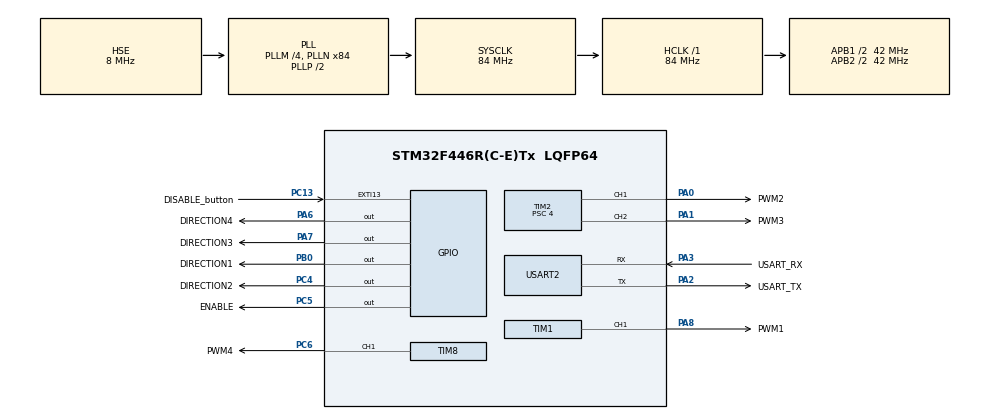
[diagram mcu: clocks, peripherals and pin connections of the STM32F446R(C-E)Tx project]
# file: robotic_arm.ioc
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Mcu.Family=STM32F4
Mcu.Name=STM32F446R(C-E)Tx
Mcu.Package=LQFP64
NVIC.EXTI15_10_IRQn=true\:0\:0\:false\:false\:true\:true\:true\:true
NVIC.PriorityGroup=NVIC_PRIORITYGROUP_1
NVIC.TIM1_BRK_TIM9_IRQn=true\:1\:0\:true\:false\:true\:true\:true\:true
NVIC.TIM1_CC_IRQn=true\:1\:0\:true\:false\:true\:true\:true\:true
NVIC.TIM1_TRG_COM_TIM11_IRQn=true\:1\:0\:true\:false\:true\:true\:true\:true
NVIC.TIM1_UP_TIM10_IRQn=true\:1\:0\:true\:false\:true\:true\:true\:true
NVIC.TIM2_IRQn=true\:1\:0\:true\:false\:true\:true\:true\:true
NVIC.TIM3_IRQn=true\:1\:0\:true\:false\:true\:true\:true\:true
NVIC.TIM4_IRQn=true\:1\:0\:true\:false\:true\:true\:true\:true
NVIC.TIM5_IRQn=true\:1\:0\:true\:false\:true\:true\:true\:true
NVIC.TIM8_BRK_TIM12_IRQn=true\:0\:0\:false\:false\:true\:true\:true\:true
NVIC.TIM8_CC_IRQn=true\:0\:0\:false\:false\:true\:true\:true\:true
NVIC.TIM8_TRG_COM_TIM14_IRQn=true\:0\:0\:false\:false\:true\:true\:true\:true
NVIC.TIM8_UP_TIM13_IRQn=true\:0\:0\:false\:false\:true\:true\:true\:true
PA0-WKUP.GPIO_Label=PWM2
PA0-WKUP.Signal=S_TIM2_CH1_ETR
PA1.GPIO_Label=PWM3
PA1.Signal=S_TIM2_CH2
PA13.GPIO_Label=TMS
PA13.Mode=Serial_Wire
PA13.Signal=SYS_JTMS-SWDIO
PA14.GPIO_Label=TCK
PA14.Mode=Serial_Wire
PA14.Signal=SYS_JTCK-SWCLK
PA2.GPIO_Label=USART_TX
PA2.Mode=Asynchronous
PA2.Signal=USART2_TX
PA3.GPIO_Label=USART_RX
PA3.Mode=Asynchronous
PA3.Signal=USART2_RX
PA6.GPIO_Label=DIRECTION4
PA6.GPIO_PuPd=GPIO_PULLDOWN
PA6.Signal=GPIO_Output
PA7.GPIO_Label=DIRECTION3
PA7.GPIO_PuPd=GPIO_PULLDOWN
PA7.Signal=GPIO_Output
PA8.GPIO_Label=PWM1
PA8.Signal=S_TIM1_CH1
PB0.GPIO_Label=DIRECTION1
PB0.GPIO_ModeDefaultOutputPP=GPIO_MODE_OUTPUT_PP
PB0.GPIO_PuPd=GPIO_PULLDOWN
PB0.Signal=GPIO_Output
PB3.GPIO_Label=SWO
PB3.Signal=SYS_JTDO-SWO
PC13.GPIO_Label=DISABLE_button
PC13.Signal=GPXTI13
PC14-OSC32_IN.Mode=LSE-External-Oscillator
PC14-OSC32_IN.Signal=RCC_OSC32_IN
PC15-OSC32_OUT.Mode=LSE-External-Oscillator
PC15-OSC32_OUT.Signal=RCC_OSC32_OUT
PC4.GPIO_Label=DIRECTION2
PC4.GPIO_PuPd=GPIO_PULLDOWN
PC4.Signal=GPIO_Output
PC5.GPIO_Label=ENABLE
PC5.GPIO_PuPd=GPIO_PULLUP
PC5.GPIO_Speed=GPIO_SPEED_FREQ_HIGH
PC5.PinState=GPIO_PIN_SET
PC5.Signal=GPIO_Output
PC6.GPIO_Label=PWM4
PC6.Signal=S_TIM8_CH1
PH0-OSC_IN.Mode=HSE-External-Oscillator
PH0-OSC_IN.Signal=RCC_OSC_IN
PH1-OSC_OUT.Mode=HSE-External-Oscillator
PH1-OSC_OUT.Signal=RCC_OSC_OUT
ProjectManager.HeapSize=0x200
ProjectManager.StackSize=0x400
ProjectManager.TargetToolchain=STM32CubeIDE
RCC.48MHZClocksFreq_Value=84000000
RCC.AHBFreq_Value=84000000
RCC.APB1CLKDivider=RCC_HCLK_DIV2
RCC.APB1Freq_Value=42000000
RCC.APB1TimFreq_Value=84000000
RCC.APB2CLKDivider=RCC_HCLK_DIV2
RCC.APB2Freq_Value=42000000
RCC.APB2TimFreq_Value=84000000
RCC.CortexFreq_Value=84000000
RCC.FLatency-AdvancedSettings=FLASH_LATENCY_2
RCC.HCLKFreq_Value=84000000
RCC.HSE_VALUE=8000000
RCC.HSI_VALUE=16000000
RCC.PLLM=4
RCC.PLLN=84
RCC.PLLSourceVirtual=RCC_PLLSOURCE_HSE
RCC.SYSCLKFreq_VALUE=84000000
RCC.SYSCLKSource=RCC_SYSCLKSOURCE_PLLCLK
RCC.USBFreq_Value=84000000
RCC.VCOOutputFreq_Value=168000000
SH.S_TIM1_CH1.0=TIM1_CH1,PWM Generation1 CH1
SH.S_TIM2_CH1_ETR.0=TIM2_CH1,PWM Generation1 CH1
SH.S_TIM2_CH2.0=TIM2_CH2,PWM Generation2 CH2
SH.S_TIM8_CH1.0=TIM8_CH1,PWM Generation1 CH1
TIM1.AutoReloadPreload=TIM_AUTORELOAD_PRELOAD_ENABLE
TIM1.Channel-PWM\ Generation1\ CH1=TIM_CHANNEL_1
TIM1.OCFastMode_PWM-PWM\ Generation1\ CH1=TIM_OCFAST_ENABLE
TIM1.Period=65535
TIM1.Prescaler=4
TIM1.Pulse-PWM\ Generation1\ CH1=32768
TIM1.TIM_MasterOutputTrigger=TIM_TRGO_UPDATE
TIM1.TIM_MasterSlaveMode=TIM_MASTERSLAVEMODE_ENABLE
TIM2.AutoReloadPreload=TIM_AUTORELOAD_PRELOAD_ENABLE
TIM2.Channel-PWM\ Generation1\ CH1=TIM_CHANNEL_1
TIM2.Channel-PWM\ Generation2\ CH2=TIM_CHANNEL_2
TIM2.OCFastMode_PWM-PWM\ Generation1\ CH1=TIM_OCFAST_ENABLE
TIM2.OCFastMode_PWM-PWM\ Generation2\ CH2=TIM_OCFAST_ENABLE
TIM2.Period=65535
TIM2.Prescaler=4
TIM2.Pulse-PWM\ Generation1\ CH1=32768
TIM2.Pulse-PWM\ Generation2\ CH2=32768
TIM2.TIM_MasterOutputTrigger=TIM_TRGO_UPDATE
TIM2.TIM_MasterSlaveMode=TIM_MASTERSLAVEMODE_ENABLE
TIM3.AutoReloadPreload=TIM_AUTORELOAD_PRELOAD_DISABLE
TIM3.CounterMode=TIM_COUNTERMODE_UP
TIM3.Period=199
TIM3.Prescaler=65535
TIM3.TIM_MasterOutputTrigger=TIM_TRGO_RESET
TIM3.TIM_MasterSlaveMode=TIM_MASTERSLAVEMODE_DISABLE
TIM4.Period=199
TIM4.Prescaler=65535
TIM5.AutoReloadPreload=TIM_AUTORELOAD_PRELOAD_DISABLE
TIM5.Period=199
TIM5.Prescaler=65535
TIM5.TIM_MasterOutputTrigger=TIM_TRGO_RESET
TIM5.TIM_MasterSlaveMode=TIM_MASTERSLAVEMODE_DISABLE
TIM8.AutoReloadPreload=TIM_AUTORELOAD_PRELOAD_ENABLE
TIM8.Channel-PWM\ Generation1\ CH1=TIM_CHANNEL_1
TIM8.OCFastMode_PWM-PWM\ Generation1\ CH1=TIM_OCFAST_ENABLE
TIM8.Prescaler=4
TIM8.Pulse-PWM\ Generation1\ CH1=32768
TIM8.TIM_MasterOutputTrigger=TIM_TRGO_UPDATE
TIM8.TIM_MasterSlaveMode=TIM_MASTERSLAVEMODE_ENABLE
USART2.VirtualMode=VM_ASYNC
VP_TIM10_VS_ClockSourceINT.Mode=Enable_Timer
VP_TIM11_VS_ClockSourceINT.Mode=Enable_Timer
VP_TIM1_VS_ClockSourceINT.Mode=Internal
VP_TIM2_VS_ClockSourceINT.Mode=Internal
VP_TIM3_VS_ClockSourceINT.Mode=Internal
VP_TIM3_VS_ClockSourceITR.Mode=TriggerSource_ITR1
VP_TIM3_VS_ControllerModeTrigger.Mode=Trigger Mode
VP_TIM4_VS_ClockSourceINT.Mode=Internal
VP_TIM4_VS_ClockSourceITR.Mode=TriggerSource_ITR0
VP_TIM4_VS_ControllerModeTrigger.Mode=Trigger Mode
VP_TIM5_VS_ClockSourceINT.Mode=Internal
VP_TIM5_VS_ClockSourceITR.Mode=TriggerSource_ITR3
VP_TIM5_VS_ControllerModeTrigger.Mode=Trigger Mode
VP_TIM8_VS_ClockSourceINT.Mode=Internal
board=NUCLEO-F446RE

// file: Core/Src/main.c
/* USER CODE BEGIN Header */
/**
 ******************************************************************************
 * @file           : main.c
 * @brief          : Main program body
 ******************************************************************************
 * @attention
 *
 * Copyright (c) 2025 STMicroelectronics.
 * All rights reserved.
 *
 * This software is licensed under terms that can be found in the LICENSE file
 * in the root directory of this software component.
 * If no LICENSE file comes with this software, it is provided AS-IS.
 *
 ******************************************************************************
 */
/* USER CODE END Header */
#include "main.h"
#include "tim.h"
#include "usart.h"
#include "gpio.h"

/* USER CODE BEGIN Includes */
#include "stepper.h"
#include "servo.h"
//#include "trapezoidal_profile.h"

#define TRAPEZOIDAL_PROFILE //COMMENT THIS IF YOU DON'T WANT THIS MOTION PROFILE FOR THE STEPPERS

#ifdef TRAPEZOIDAL_PROFILE
#include "trapezoidal_profile.h"
#include "trapezoidal_profile.c"
#endif

#ifndef TRAPEZOIDAL_PROFILE
#include "stp_callback.c"
#endif

/* USER CODE END Includes */

/* USER CODE BEGIN PV */
stepper_obj stp1;
stepper_obj stp2;
stepper_obj stp3;
stepper_obj stp4;
servo_obj srv1;
servo_obj srv2;

//int arr;

/* USER CODE END PV */

void SystemClock_Config(void);

int main(void)
{

  /* MCU Configuration--------------------------------------------------------*/

  /* Reset of all peripherals, Initializes the Flash interface and the Systick. */
  HAL_Init();

  /* Configure the system clock */
  SystemClock_Config();

  /* Initialize all configured peripherals */
  MX_GPIO_Init();
  MX_USART2_UART_Init();
  MX_TIM3_Init();
  MX_TIM5_Init();
  MX_TIM1_Init();
  MX_TIM2_Init();
  MX_TIM4_Init();
  MX_TIM8_Init();
  MX_TIM10_Init();
  MX_TIM11_Init();
  /* USER CODE BEGIN 2 */
	HAL_TIM_Base_Start_IT(&htim4);
	HAL_TIM_Base_Start_IT(&htim3);
	HAL_TIM_Base_Start_IT(&htim5);

	HAL_GPIO_WritePin(ENABLE_GPIO_Port, ENABLE_Pin, GPIO_PIN_RESET); //ENABLE
	/*
	 stepper_init(obj, resol, microstep, enable_port, direction_port, timer slave, timerpwm*/
	stepper_init(&stp1, &htim1, &htim4, 1.8, 4 * 4.27, DIRECTION1_GPIO_Port,
	DIRECTION1_Pin);

	stepper_init(&stp2, &htim2, &htim3, 1.8,4* 6, DIRECTION2_GPIO_Port,
	DIRECTION2_Pin);
	stepper_init(&stp3, &htim2, &htim3, 1.8,4* 6, DIRECTION3_GPIO_Port,
	DIRECTION3_Pin);
	stepper_init(&stp4, &htim8, &htim5, 1.8,8*4.9, DIRECTION4_GPIO_Port,
	DIRECTION4_Pin);

	stepper_move(&stp4, CLOCKWISE, 100, 100); //SET REGISTERS FOR THE MOVEMENT
	HAL_Delay(6000);
	//stepper_move(&stp1, COUNTERCLOCKWISE, 180, 45); //SET REGISTERS FOR THE MOVEMENT
	//HAL_Delay(10000);
	//stepper_move(&stp1, COUNTERCLOCKWISE, 180, 45); //SET REGISTERS FOR THE MOVEMENT

	//HAL_TIM_PWM_Start_IT(stp1.pwm_timer, TIM_CHANNEL_1); //START PWM
	//HAL_Delay(2000);

	//stepper_move(&stp2, CLOCKWISE, 45, 2); //SET REGISTERS FOR THE MOVEMENT
	//stepper_move(&stp3, COUNTERCLOCKWISE, 45, 2); //SET REGISTERS FOR THE MOVEMENT
	//HAL_TIM_PWM_Start_IT(stp2.pwm_timer, TIM_CHANNEL_1); //START PWM
	//HAL_TIM_PWM_Start_IT(stp3.pwm_timer, TIM_CHANNEL_2); //START PWM

	//stepper_move(&stp4, CLOCKWISE, 100, 2); //SET REGISTERS FOR THE MOVEMENT
	//HAL_TIM_PWM_Start_IT(stp4.pwm_timer, TIM_CHANNEL_1); //START PWM

	//HAL_Delay(2000);

  /* USER CODE END 2 */

  /* Infinite loop */
  /* USER CODE BEGIN WHILE */
	while (1) {
		//arr= htim1.Instance->ARR;

    /* USER CODE END WHILE */

	}
}

void SystemClock_Config(void)
{
  RCC_OscInitTypeDef RCC_OscInitStruct = {0};
  RCC_ClkInitTypeDef RCC_ClkInitStruct = {0};

  /** Configure the main internal regulator output voltage
  */
  __HAL_RCC_PWR_CLK_ENABLE();
  __HAL_PWR_VOLTAGESCALING_CONFIG(PWR_REGULATOR_VOLTAGE_SCALE3);

  /** Initializes the RCC Oscillators according to the specified parameters
  * in the RCC_OscInitTypeDef structure.
  */
  RCC_OscInitStruct.OscillatorType = RCC_OSCILLATORTYPE_HSE;
  RCC_OscInitStruct.HSEState = RCC_HSE_ON;
  RCC_OscInitStruct.PLL.PLLState = RCC_PLL_ON;
  RCC_OscInitStruct.PLL.PLLSource = RCC_PLLSOURCE_HSE;
  RCC_OscInitStruct.PLL.PLLM = 4;
  RCC_OscInitStruct.PLL.PLLN = 84;
  RCC_OscInitStruct.PLL.PLLP = RCC_PLLP_DIV2;
  RCC_OscInitStruct.PLL.PLLQ = 2;
  RCC_OscInitStruct.PLL.PLLR = 2;
  if (HAL_RCC_OscConfig(&RCC_OscInitStruct) != HAL_OK)
  {
    Error_Handler();
  }

  /** Initializes the CPU, AHB and APB buses clocks
  */
  RCC_ClkInitStruct.ClockType = RCC_CLOCKTYPE_HCLK|RCC_CLOCKTYPE_SYSCLK
                              |RCC_CLOCKTYPE_PCLK1|RCC_CLOCKTYPE_PCLK2;
  RCC_ClkInitStruct.SYSCLKSource = RCC_SYSCLKSOURCE_PLLCLK;
  RCC_ClkInitStruct.AHBCLKDivider = RCC_SYSCLK_DIV1;
  RCC_ClkInitStruct.APB1CLKDivider = RCC_HCLK_DIV2;
  RCC_ClkInitStruct.APB2CLKDivider = RCC_HCLK_DIV2;

  if (HAL_RCC_ClockConfig(&RCC_ClkInitStruct, FLASH_LATENCY_2) != HAL_OK)
  {
    Error_Handler();
  }
}

void Error_Handler(void)
{
	__disable_irq();
	while (1) {
	}
}
